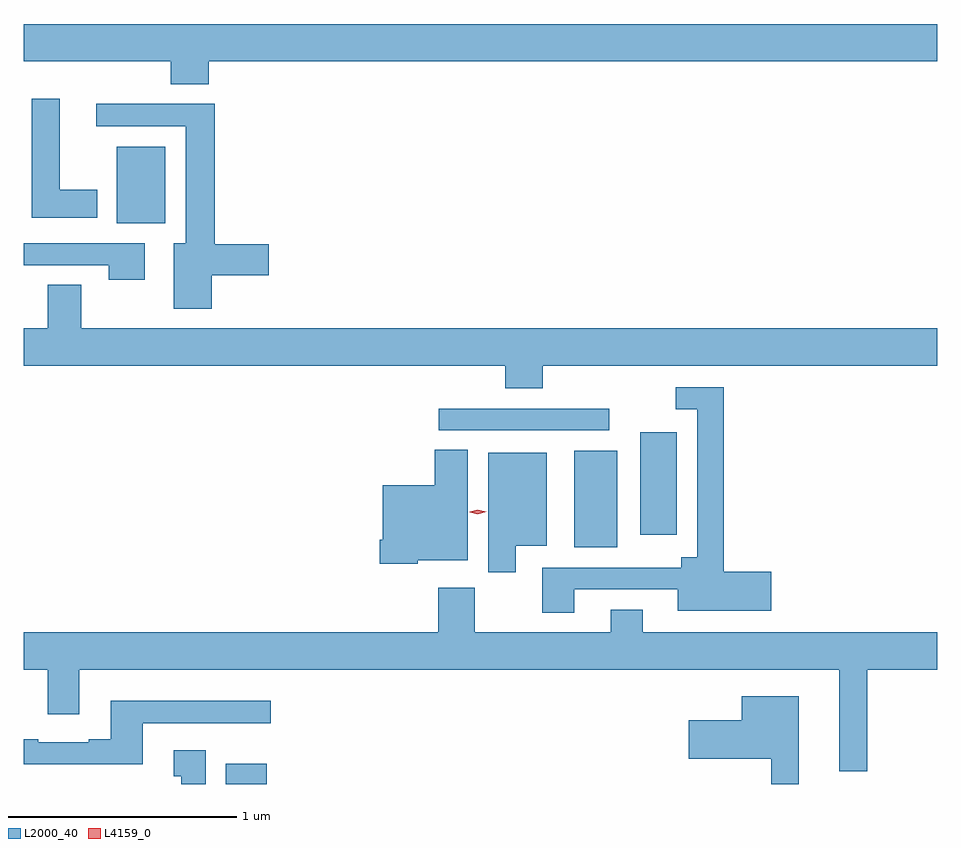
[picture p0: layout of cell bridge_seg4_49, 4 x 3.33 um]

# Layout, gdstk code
import gdstk
lib = gdstk.Library(unit=1e-6, precision=1e-09)
def R(c, l, rs):  # rectangles x0, y0, x1, y1
    for r in rs: c.add(gdstk.rectangle(r[:2], r[2:], *l))
def P(c, l, *ps):  # polygons
    for p in ps: c.add(gdstk.Polygon(p, *l))
L2000_40 = (2000, 40)
L4159_0 = (4159, 0)

bridge_seg4_49 = lib.new_cell('bridge_seg4_49')
R(bridge_seg4_49, L2000_40, [(744.521,769.68,744.7,769.768), (746.048,770.717,746.236,771.139), (746.336,770.772,746.497,771.22), (745.455,771.228,746.2,771.324), (744.044,772.136,744.256,772.471)])
P(bridge_seg4_49, L2000_40, [(743.637,772.844),(744.281,772.844),(744.281,772.745),(744.446,772.745),(744.446,772.844),(747.637,772.844),(747.637,773.008),(743.637,773.008)],
  [(743.959,772.282),(743.794,772.282),(743.794,772.681),(743.672,772.681),(743.672,772.16),(743.959,772.16)],
  [(744.46,771.908),(744.709,771.908),(744.709,772.043),(744.473,772.043),(744.473,772.658),(743.955,772.658),(743.955,772.56),(744.347,772.56),(744.347,772.048),(744.293,772.048),(744.293,771.762),(744.46,771.762)],
  [(744.166,772.047),(743.637,772.047),(743.637,771.951),(744.01,771.951),(744.01,771.888),(744.166,771.888)],
  [(745.91,771.512),(747.637,771.512),(747.637,771.676),(743.889,771.676),(743.889,771.866),(743.741,771.866),(743.741,771.676),(743.637,771.676),(743.637,771.512),(745.745,771.512),(745.745,771.413),(745.91,771.413)],
  [(746.047,770.532),(746.501,770.532),(746.501,770.438),(746.911,770.438),(746.911,770.609),(746.702,770.609),(746.702,771.417),(746.493,771.417),(746.493,771.321),(746.586,771.321),(746.586,770.674),(746.516,770.674),(746.516,770.628),(745.907,770.628),(745.907,770.43),(746.047,770.43)],
  [(745.362,770.66),(745.582,770.66),(745.582,771.143),(745.436,771.143),(745.436,770.989),(745.208,770.989),(745.208,770.749),(745.196,770.749),(745.196,770.645),(745.362,770.645)],
  [(745.792,770.723),(745.927,770.723),(745.927,771.13),(745.67,771.13),(745.67,770.607),(745.792,770.607)],
  [(747.331,770.18),(747.637,770.18),(747.637,770.344),(746.347,770.344),(746.347,770.443),(746.207,770.443),(746.207,770.344),(745.611,770.344),(745.611,770.539),(745.451,770.539),(745.451,770.344),(743.637,770.344),(743.637,770.18),(743.741,770.18),(743.741,769.986),(743.881,769.986),(743.881,770.18),(747.209,770.18),(747.209,769.736),(747.331,769.736)],
  [(747.031,770.065),(746.78,770.065),(746.78,769.96),(746.55,769.96),(746.55,769.79),(746.91,769.79),(746.91,769.68),(747.031,769.68)],
  [(744.157,769.947),(744.718,769.947),(744.718,770.044),(744.017,770.044),(744.017,769.876),(743.921,769.876),(743.921,769.863),(743.701,769.863),(743.701,769.876),(743.637,769.876),(743.637,769.766),(744.157,769.766)],
  [(744.433,769.828),(744.293,769.828),(744.293,769.715),(744.326,769.715),(744.326,769.68),(744.433,769.68)])
P(bridge_seg4_49, L4159_0, [(745.626,770.862),(745.59,770.871),(745.59,770.872),(745.59,770.872),(745.626,770.882),(745.662,770.873),(745.662,770.872),(745.662,770.872)])

lib.write_gds('bridge_seg4_49.gds')
